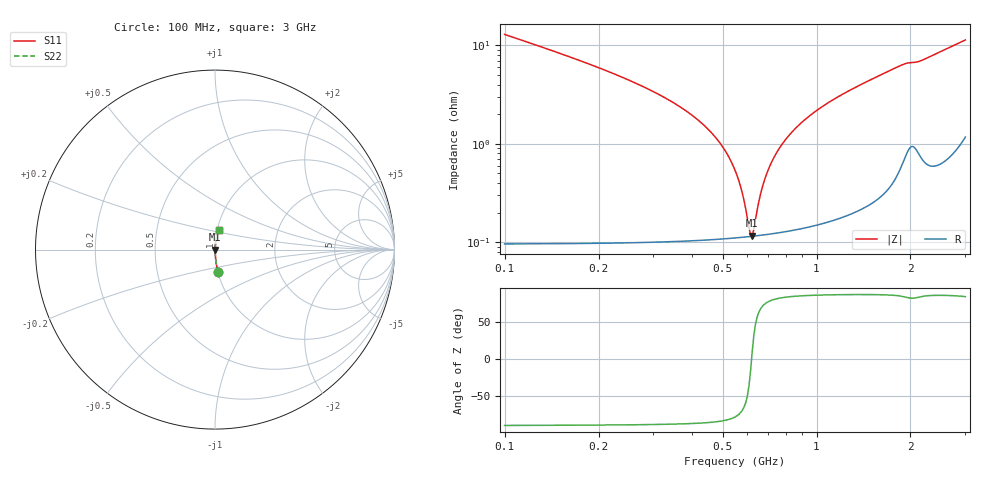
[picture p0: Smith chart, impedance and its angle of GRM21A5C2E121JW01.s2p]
!Murata Part Number: GRM21A5C2E121JW01
!These Parameters are Measured in Series Mode Connection
!Data Generated on Mar 30, 2021
!  o--ll--o
!Port1  Port2
!  o------o
!Operation Temp=25[degC], DC Bias Voltage=0[V]
!Freq. Start=100[MHz] Stop=3[GHz] 401[Steps]
# Hz S RI R 50
!Freq.(Hz) S11(Real) S11(Imag) S21(Real) S21(Imag) S12(Real) S12(Imag) S22(Real) S22(Imag)
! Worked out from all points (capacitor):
!   401 points, 100 MHz to 3 GHz, reference 50 ohm
!   read as one part in series: C = 120 pF near 114.5 MHz
!   lowest |Z| = 117 mohm at 622 MHz (marker M1)
!   series resonance near 619.1 MHz, so ESL is about 550 pH
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1e8  0.0173 -0.1268  0.9827 0.1268  0.9827 0.1268  0.0173 -0.1268
1.9425e8  0.00474 -0.0612  0.9953 0.0612  0.9953 0.0612  0.00474 -0.0612
3.9e8  0.00145 -0.0205  0.9985 0.0205  0.9985 0.0205  0.00145 -0.0205
4.6975e8  0.00121 -0.012  0.9988 0.012  0.9988 0.012  0.00121 -0.012
5.4225e8  0.00113 -0.00571  0.9989 0.00571  0.9989 0.00571  0.00113 -0.00571
5.64e8  0.00113 -0.00401  0.9989 0.00401  0.9989 0.00401  0.00113 -0.00401
5.8575e8  0.00113 -0.00238  0.9989 0.00238  0.9989 0.00238  0.00113 -0.00238
6.075e8  0.00114 -0.000814  0.9989 0.000814  0.9989 0.000814  0.00114 -0.000814
6.22e8  0.00115 0.000201  0.9989 -0.000201  0.9989 -0.000201  0.00115 0.000201
6.365e8  0.00116 0.00119  0.9988 -0.00119  0.9988 -0.00119  0.00116 0.00119
6.655e8  0.00119 0.00312  0.9988 -0.00312  0.9988 -0.00312  0.00119 0.00312
6.8725e8  0.00121 0.00451  0.9988 -0.00451  0.9988 -0.00451  0.00121 0.00451
7.1625e8  0.00126 0.00631  0.9987 -0.00631  0.9987 -0.00631  0.00126 0.00631
7.5975e8  0.00133 0.0089  0.9987 -0.0089  0.9987 -0.0089  0.00133 0.0089
8.83e8  0.00161 0.0157  0.9984 -0.0157  0.9984 -0.0157  0.00161 0.0157
1.0715e9  0.00221 0.0251  0.9978 -0.0251  0.9978 -0.0251  0.00221 0.0251
1.28175e9  0.00314 0.0349  0.9969 -0.0349  0.9969 -0.0349  0.00314 0.0349
1.55e9  0.00487 0.0471  0.9951 -0.0471  0.9951 -0.0471  0.00487 0.0471
1.87625e9  0.00988 0.062  0.9901 -0.062  0.9901 -0.062  0.00988 0.062
2.03575e9  0.0136 0.0649  0.9864 -0.0649  0.9864 -0.0649  0.0136 0.0649
2.5215e9  0.0138 0.0858  0.9862 -0.0858  0.9862 -0.0858  0.0138 0.0858
3e9  0.0238 0.1091  0.9762 -0.1091  0.9762 -0.1091  0.0238 0.1091
